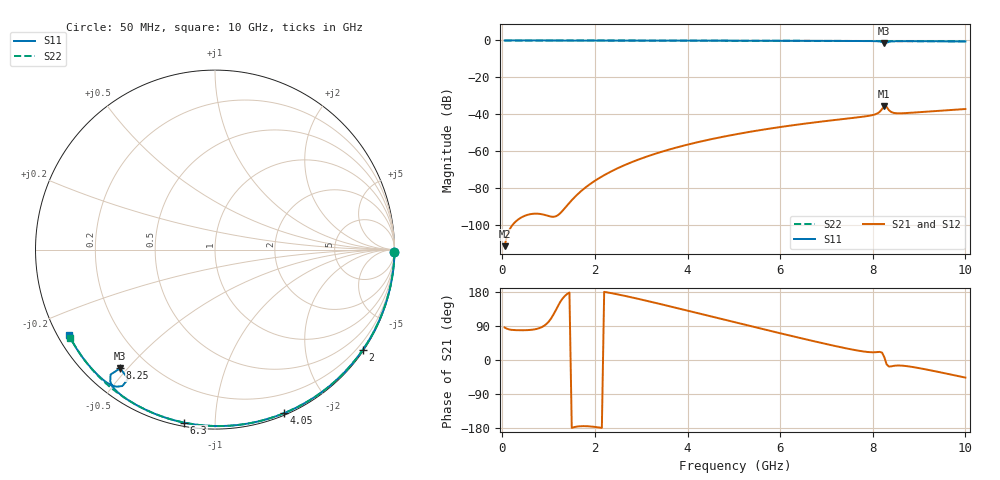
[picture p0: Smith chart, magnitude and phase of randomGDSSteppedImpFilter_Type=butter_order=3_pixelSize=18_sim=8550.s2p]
! freq	dB(S11)	phase(S11)	dB(S12)	phase(S12)
!  dB(S21)	phase(S21)	dB(S22)	phase(S22)
!S-par simulation data
#  GHz  S  DB  R 50
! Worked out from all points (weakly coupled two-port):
!   200 points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, 50 MHz to 10 GHz, reference 50 ohm
!   highest |S21| = -35.51 dB at 8.25 GHz (marker M1); lowest = -111.7 dB at 50 MHz (marker M2)
!   lowest |S11| = -1.4 dB at 8.25 GHz (marker M3), VSWR 12.05, Z = 5.1 - j23.9 ohm
!   |S11| at or under -10 dB: nowhere
!   |S22| runs from -0.5 to 0.0 dB; largest |S21 - S12| = 0
!   S11 on the Smith chart (normalised r, x): 50 MHz: open; 2 GHz: 0.03, -3.25; 4.05 GHz: 0.02, -1.51; 6.3 GHz: 0.02, -0.84; 8.25 GHz: 0.10, -0.48; 10 GHz: 0.03, -0.27
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0.05  -0.00 -0.9  -111.68 85.8  -111.68 85.8  -0.00 -0.9
0.9  -0.02 -15.6  -94.61 90.0  -94.61 90.0  -0.02 -15.4
1.75  -0.04 -30.0  -80.77 -174.5  -80.77 -174.5  -0.04 -29.7
1.8  -0.04 -30.8  -79.75 -174.6  -79.75 -174.6  -0.04 -30.5
2  -0.04 -34.2  -76.17 -176.6  -76.17 -176.6  -0.04 -33.8
2.3  -0.05 -39.1  -71.77 177.7  -71.77 177.7  -0.05 -38.8
2.6  -0.06 -44.1  -68.13 170.4  -68.13 170.4  -0.06 -43.6
3.4  -0.08 -56.9  -60.73 148.0  -60.73 148.0  -0.07 -56.4
4.05  -0.09 -67.1  -56.25 128.8  -56.25 128.8  -0.09 -66.4
5.05  -0.13 -82.2  -50.91 98.7  -50.91 98.7  -0.12 -81.4
6.3  -0.18 -100.2  -45.94 61.8  -45.94 61.8  -0.18 -99.2
6.7  -0.21 -105.8  -44.62 50.4  -44.62 50.4  -0.20 -104.7
7.45  -0.26 -116.4  -42.40 30.1  -42.40 30.1  -0.25 -114.8
8  -0.35 -124.9  -40.49 20.4  -40.49 20.4  -0.29 -122.2
8.15  -0.55 -128.5  -38.75 21.4  -38.75 21.4  -0.31 -124.1
8.2  -0.85 -129.9  -37.27 19.5  -37.27 19.5  -0.31 -124.8
8.25  -1.45 -128.6  -35.51 7.3  -35.51 7.3  -0.32 -125.5
8.3  -1.23 -123.9  -36.15 -11.7  -36.15 -11.7  -0.32 -126.1
8.35  -0.74 -124.2  -37.90 -17.3  -37.90 -17.3  -0.32 -126.8
8.45  -0.46 -126.9  -39.31 -15.5  -39.31 -15.5  -0.33 -128.1
8.6  -0.39 -129.8  -39.55 -14.6  -39.55 -14.6  -0.35 -130.1
10  -0.50 -149.6  -37.22 -46.4  -37.22 -46.4  -0.50 -148.7
